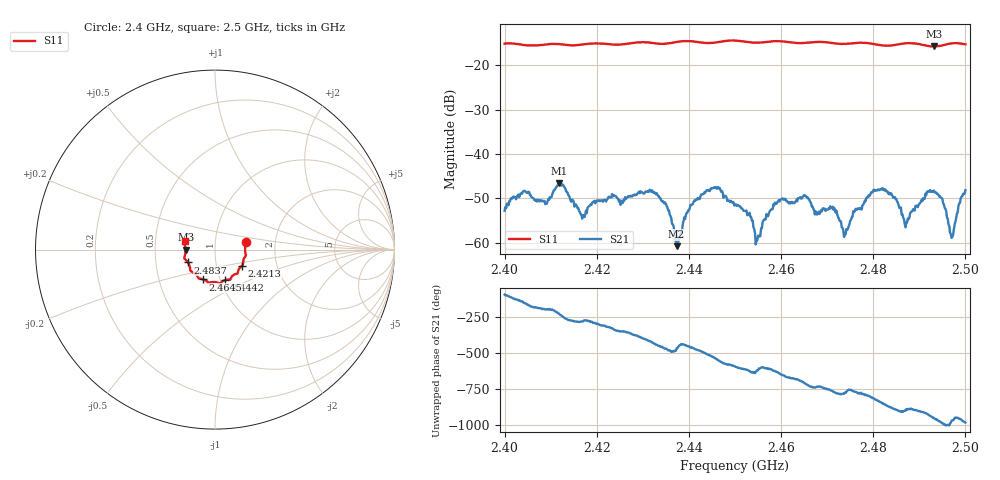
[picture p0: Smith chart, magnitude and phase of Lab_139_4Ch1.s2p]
# Hz S RI R 50
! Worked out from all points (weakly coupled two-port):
!   601 points, 2.4 GHz to 2.5 GHz, reference 50 ohm
!   highest |S21| = -46.66 dB at 2.4118 GHz (marker M1); lowest = -60.8 dB at 2.4373 GHz (marker M2)
!   lowest |S11| = -15.7 dB at 2.4932 GHz (marker M3), VSWR 1.39, Z = 35.9 - j0.0541 ohm
!   |S11| at or under -10 dB: start of sweep to end of sweep
!   S12 and S22 are empty: the file has one direction only
!   S11 on the Smith chart (normalised r, x): 2.4 GHz: 1.41, +0.12; 2.4213 GHz: 1.33, -0.25; 2.4442 GHz: 1.05, -0.37; 2.4645 GHz: 0.83, -0.29; 2.4837 GHz: 0.73, -0.11; 2.5 GHz: 0.71, +0.07
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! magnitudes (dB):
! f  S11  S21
! 2.4 GHz  -15.1  -52.8
! 2.4118 GHz  -15.2  -46.7
! 2.4167 GHz  -15.3  -53.7
! 2.4213 GHz  -15.1  -50.8
! 2.4333 GHz  -15.1  -49.5
! 2.4373 GHz  -14.7  -60.8
! 2.4407 GHz  -14.6  -51.4
! 2.4442 GHz  -15.0  -48.2
! 2.45 GHz  -14.4  -51.5
! 2.455 GHz  -14.9  -58.4
! 2.4588 GHz  -14.5  -51.2
! 2.4645 GHz  -15.0  -50.1
! 2.4667 GHz  -14.8  -51.9
! 2.4712 GHz  -15.0  -51.9
! 2.474 GHz  -15.1  -58.1
! 2.4798 GHz  -15.1  -48.7
! 2.4833 GHz  -15.6  -49.1
! 2.4837 GHz  -15.5  -49.1
! 2.4872 GHz  -15.0  -55.5
! 2.4932 GHz  -15.7  -48.3
! 2.497 GHz  -15.0  -58.9
! 2.5 GHz  -15.2  -48.2
